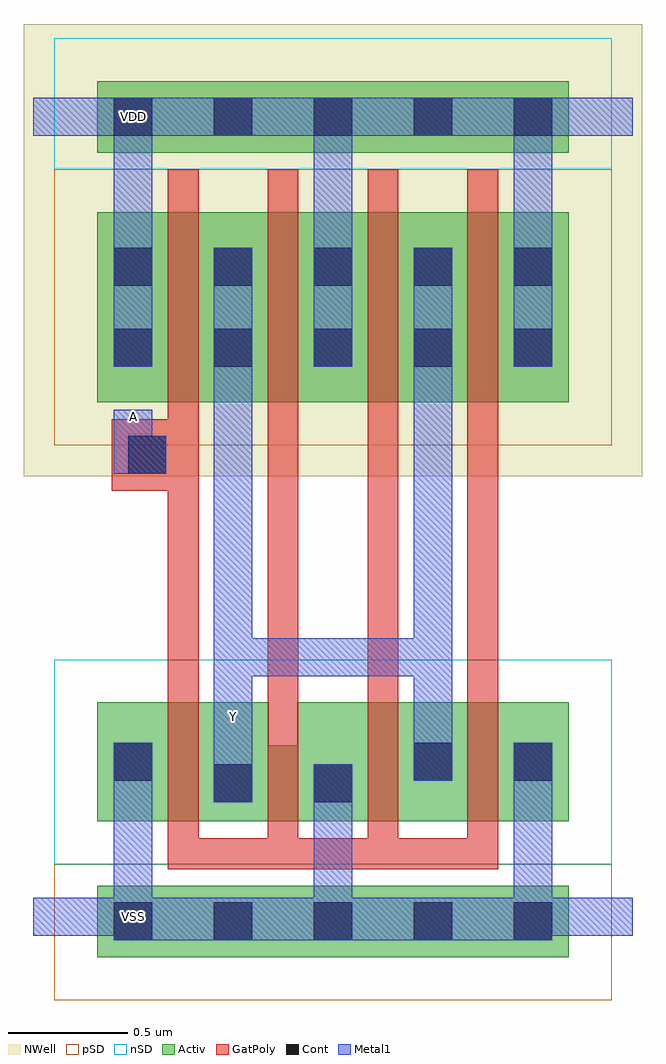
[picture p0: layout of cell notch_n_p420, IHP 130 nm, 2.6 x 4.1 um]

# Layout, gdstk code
import gdstk
lib = gdstk.Library(unit=1e-6, precision=1e-09)
def R(c, l, rs):  # rectangles x0, y0, x1, y1
    for r in rs: c.add(gdstk.rectangle(r[:2], r[2:], *l))
def A(c, l, x, y, w, h, nx, ny, dx, dy):  # array of equal rectangles
    R(c, l, [(x+i*dx, y+j*dy, x+i*dx+w, y+j*dy+h) for i in range(nx) for j in range(ny)])
Activ = (1, 0)
GatPoly = (5, 0)
Cont = (6, 0)
nSD = (7, 0)
Metal1 = (8, 0)
pSD = (14, 0)
NWell = (31, 0)

notch_n_p420 = lib.new_cell('notch_n_p420')
R(notch_n_p420, Activ, [(0.27,-0.17,2.25,0.13), (0.27,0.4,0.99,0.9), (0.69,0.4,1.41,0.72), (1.11,0.4,2.25,0.9), (0.27,2.16,2.25,2.96), (0.27,3.21,2.25,3.51)])
A(notch_n_p420, GatPoly, 0.565, 0.2, 0.13, 2.94, 4, 1, 0.42, 0)
R(notch_n_p420, GatPoly, [(0.565,0.2,1.955,0.33), (0.33,1.79,0.695,2.09)])
A(notch_n_p420, Cont, 0.34, -0.1, 0.16, 0.16, 5, 2, 0.42, 2.41)
A(notch_n_p420, Cont, 0.34, 2.65, 0.16, 0.16, 5, 2, 0.42, 0.63)
R(notch_n_p420, Cont, [(0.76,0.48,0.92,0.64), (1.18,0.48,1.34,0.64), (0.34,0.57,0.5,0.73), (1.6,0.57,1.76,0.73), (2.02,0.57,2.18,0.73), (0.4,1.86,0.56,2.02)])
R(notch_n_p420, nSD, [(0.09,0.22,1.17,1.08), (0.51,0.22,1.59,0.9), (0.93,0.22,2.43,1.08), (0.09,3.14,2.43,3.69)])
A(notch_n_p420, Metal1, 0.34, 2.31, 0.16, 1.13, 3, 1, 0.84, 0)
R(notch_n_p420, Metal1, [(0.34,-0.1,2.18,0.08), (0,-0.08,2.52,0.08), (0.34,-0.08,0.5,0.73), (1.18,-0.08,1.34,0.64), (2.02,-0.08,2.18,0.73), (0.76,0.48,0.92,1.17), (1.6,0.57,1.76,1.17), (0.76,1.01,0.92,2.81), (0.76,1.01,1.76,1.17), (1.6,1.01,1.76,2.81), (0.34,1.86,0.5,2.13), (0.34,1.86,0.56,2.02), (0,3.28,2.52,3.44), (0.34,3.28,2.18,3.44)])
R(notch_n_p420, pSD, [(0.09,-0.35,2.43,0.22), (0.09,1.98,2.43,3.14)])
R(notch_n_p420, NWell, [(-0.04,1.85,2.56,3.75)])
notch_n_p420.add(gdstk.Label('VSS', (0.42,0), layer=8, texttype=25))
notch_n_p420.add(gdstk.Label('A', (0.42,2.1), layer=8, texttype=25))
notch_n_p420.add(gdstk.Label('VDD', (0.42,3.36), layer=8, texttype=25))
notch_n_p420.add(gdstk.Label('Y', (0.84,0.84), layer=8, texttype=25))

lib.write_gds('notch_n_p420.gds')
